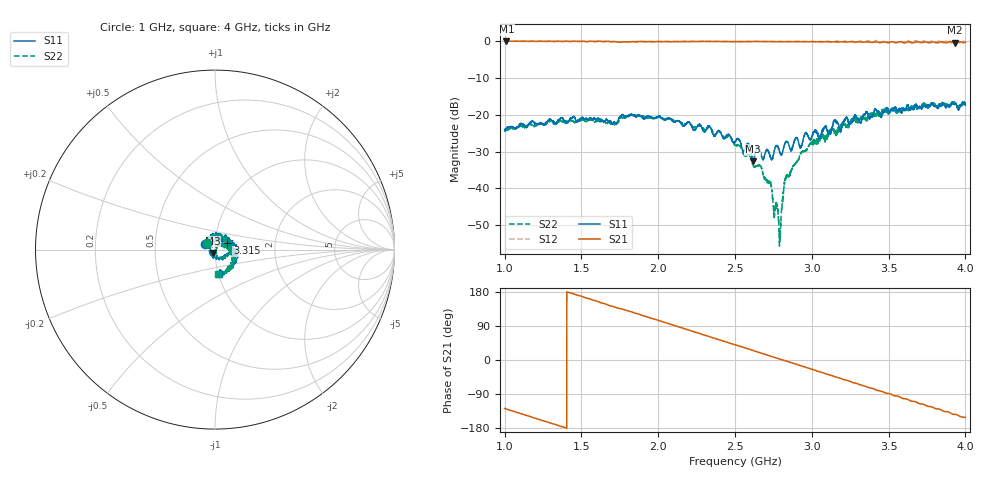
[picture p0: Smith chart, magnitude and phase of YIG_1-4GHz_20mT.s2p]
#  HZ  S  RI  R  50.0
! Rohde & Schwarz ZVL13 2Ports - Version 3.31 - 1303.6509k13 SN: 101088
! Date: 2023-03-06 14:34:26
! Data & Calibration Information:
! Trc4:S11(TOSM) Trc2:S21(TOSM) Trc3:S12(TOSM) Trc5:S22(TOSM)
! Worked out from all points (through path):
!   4000 points, 1 GHz to 4 GHz, reference 50 ohm
!   highest |S21| = -0.06 dB at 1.012 GHz (marker M1); lowest = -0.5 dB at 3.93 GHz (marker M2)
!   group delay of S21, straight-line fit = 356 ps
!   lowest |S11| = -32.6 dB at 2.616 GHz (marker M3), VSWR 1.05, Z = 48.7 - j1.88 ohm
!   |S11| at or under -10 dB: start of sweep to end of sweep
!   |S22| runs from -55.7 to -16.5 dB; largest |S21 - S12| = 0.071
!   S11 on the Smith chart (normalised r, x): 1 GHz: 0.90, +0.06; 3.315 GHz: 1.15, +0.08; 4 GHz: 1.01, -0.28
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1e9  -0.0533 0.0329  -0.6088 -0.7814  -0.6151 -0.7801  -0.0449 0.0395
1.012003e9  -0.051 0.0375  -0.6336 -0.7642  -0.6269 -0.7595  -0.0461 0.0409
1.255064e9  -0.0257 0.0674  -0.9318 -0.3218  -0.94 -0.3295  -0.0142 0.0728
1.500375e9  0.0193 0.0869  -0.965 0.2059  -0.9707 0.1994  0.0381 0.0791
1.72168e9  0.049 0.06  -0.7359 0.6414  -0.7411 0.6527  0.053 0.0533
2e9  0.093 0.00874  -0.2467 0.9476  -0.2425 0.9485  0.094 -0.000328
2.23856e9  0.0505 -0.0347  0.274 0.9422  0.2789 0.9459  0.054 -0.039
2.500375e9  -0.00924 -0.0419  0.7462 0.6311  0.7471 0.627  0.0125 -0.0363
2.586647e9  -0.0183 -0.036  0.8544 0.4782  0.8628 0.4768  0.00753 -0.0277
2.615904e9  -0.0132 -0.0193  0.887 0.4187  0.8856 0.4186  0.00318 -0.0211
2.648912e9  -0.0291 -0.0231  0.9146 0.3525  0.9186 0.3479  0.00503 -0.0197
2.726182e9  -0.0265 -0.0104  0.9617 0.1847  0.9639 0.1868  -0.00294 -0.0118
2.790698e9  -0.0305 0.00798  0.9746 0.0448  0.9812 0.0433  0.00167 0.00158
2.834209e9  -0.0334 0.0278  0.9738 -0.0499  0.9801 -0.0454  0.0111 0.00898
3e9  0.00572 0.05  0.888 -0.4019  0.8978 -0.4038  0.0278 0.0308
3.117029e9  0.0245 0.0516  0.7467 -0.6159  0.7514 -0.6369  0.0506 0.0256
3.153038e9  0.0412 0.0715  0.69 -0.6794  0.7178 -0.6762  0.0562 0.0183
3.315079e9  0.0693 0.0353  0.4025 -0.8841  0.417 -0.9008  0.0849 0.00653
3.500375e9  0.1119 -0.00385  0.029 -0.9485  0.0226 -0.9401  0.0968 -0.0343
3.673668e9  0.1197 -0.0614  -0.3268 -0.9  -0.351 -0.944  0.0935 -0.0928
3.930233e9  0.059 -0.1245  -0.759 -0.5576  -0.8059 -0.5906  0.0435 -0.1413
4e9  0.0233 -0.1343  -0.8478 -0.4558  -0.8642 -0.4093  0.0146 -0.1308
